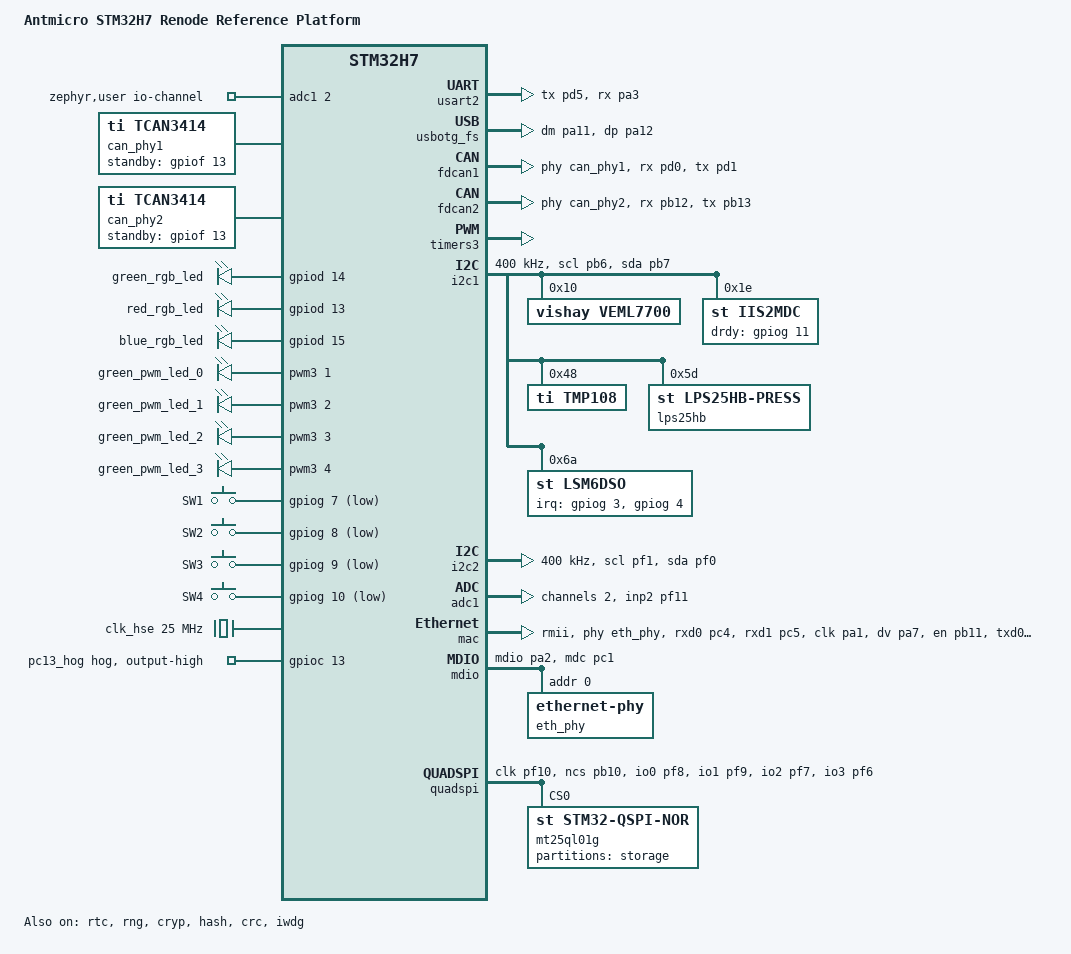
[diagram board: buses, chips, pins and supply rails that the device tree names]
/*
 * Copyright (c) 2026 Antmicro <www.antmicro.com>
 * SPDX-License-Identifier: Apache-2.0
 */

/dts-v1/;

#include <zephyr/dt-bindings/gpio/gpio.h>
#include <zephyr/dt-bindings/input/input-event-codes.h>
#include <zephyr/dt-bindings/memory-attr/memory-attr-arm.h>
#include <st/h7/stm32h753Xi.dtsi>
#include "stm32h7_renode_reference_board-pinctrl.dtsi"

/ {
	model = "Antmicro STM32H7 Renode Reference Platform";
	compatible = "antmicro,stm32h7_renode_reference_board";

	chosen {
		zephyr,crc = &crc;
		zephyr,entropy = &rng;
		zephyr,console = &usart2;
		zephyr,shell-uart = &usart2;
		zephyr,canbus = &fdcan1;
		zephyr,dtcm = &dtcm;
		zephyr,itcm = &itcm;
		zephyr,sram = &sram0;
		zephyr,flash = &flash0;
		zephyr,code-partition = &slot0_partition;
	};

	aliases {
		accel0 = &lsm6dso;
		ambient-temp0 = &tmp108;
		magn0 = &iis2mdc;
		light-sensor = &veml7700;
		pressure-sensor = &lps25hb;
		led0 = &green_rgb_led;
		led1 = &red_rgb_led;
		led2 = &blue_rgb_led;
		pwm-led0 = &green_pwm_led_0;
		pwm-led1 = &green_pwm_led_1;
		pwm-led2 = &green_pwm_led_2;
		pwm-led3 = &green_pwm_led_3;
		rtc = &rtc;
		spi-flash0 = &mt25ql01g;
		sw0 = &btn0;
		sw1 = &btn1;
		sw2 = &btn2;
		sw3 = &btn3;
		i2c-0 = &i2c1;
		watchdog0 = &iwdg;

		/* mcuboot uses those to enter recovery mode */
		mcuboot-button0 = &btn0;
		mcuboot-led0 = &red_rgb_led;
	};

	zephyr,user {
		io-channels = <&adc1 2>;
	};

	can_phy1: can-phy1 {
		compatible = "ti,tcan3414", "can-transceiver-gpio";
		standby-gpios = <&gpiof 13 GPIO_ACTIVE_HIGH>;
		#phy-cells = <0>;
		max-bitrate = <8000000>;
	};

	can_phy2: can-phy2 {
		compatible = "ti,tcan3414", "can-transceiver-gpio";
		standby-gpios = <&gpiof 13 GPIO_ACTIVE_HIGH>;
		#phy-cells = <0>;
		max-bitrate = <8000000>;
	};

	leds {
		compatible = "gpio-leds";

		green_rgb_led: led_rgb_g {
			gpios = <&gpiod 14 GPIO_ACTIVE_HIGH>;
		};

		red_rgb_led: led_rgb_r {
			gpios = <&gpiod 13 GPIO_ACTIVE_HIGH>;
		};

		blue_rgb_led: led_rgb_b {
			gpios = <&gpiod 15 GPIO_ACTIVE_HIGH>;
		};
	};

	pwmleds {
		compatible = "pwm-leds";

		green_pwm_led_0: led_0 {
			pwms = <&pwm3 1 PWM_MSEC(20) PWM_POLARITY_NORMAL>;
		};

		green_pwm_led_1: led_1 {
			pwms = <&pwm3 2 PWM_MSEC(20) PWM_POLARITY_NORMAL>;
		};

		green_pwm_led_2: led_2 {
			pwms = <&pwm3 3 PWM_MSEC(20) PWM_POLARITY_NORMAL>;
		};

		green_pwm_led_3: led_3 {
			pwms = <&pwm3 4 PWM_MSEC(20) PWM_POLARITY_NORMAL>;
		};
	};

	gpio_keys {
		compatible = "gpio-keys";

		/* Buttons labeled 1-4 on board */
		btn0: btn_0 {
			gpios = <&gpiog 7 (GPIO_ACTIVE_LOW | GPIO_PULL_UP)>;
			label = "SW1";
			zephyr,code = <INPUT_KEY_1>;
		};

		btn1: btn_1 {
			gpios = <&gpiog 8 (GPIO_ACTIVE_LOW | GPIO_PULL_UP)>;
			label = "SW2";
			zephyr,code = <INPUT_KEY_2>;
		};

		btn2: btn_2 {
			gpios = <&gpiog 9 (GPIO_ACTIVE_LOW | GPIO_PULL_UP)>;
			label = "SW3";
			zephyr,code = <INPUT_KEY_3>;
		};

		btn3: btn_3 {
			gpios = <&gpiog 10 (GPIO_ACTIVE_LOW | GPIO_PULL_UP)>;
			label = "SW4";
			zephyr,code = <INPUT_KEY_4>;
		};
	};
};

&pwr {
	power-supply = "ldo";
};

&clk_lsi {
	status = "okay";
};

&clk_hsi48 {
	status = "okay";
};

&clk_hse {
	hse-bypass;
	clock-frequency = <DT_FREQ_M(25)>;
	status = "okay";
};

&pll {
	div-m = <5>;
	mul-n = <192>;
	div-p = <2>;
	div-q = <2>;
	div-r = <2>;
	clocks = <&clk_hse>;
	status = "okay";
};

&pll2 {
	div-m = <5>;
	mul-n = <48>;
	div-p = <2>;
	div-q = <3>; /* 80MHz used in the FDCAN -> HSE / DIV-M * MUL-N / DIV-Q */
	div-r = <2>;
	clocks = <&clk_hse>;
	status = "okay";
};

&rcc {
	clocks = <&pll>;
	clock-frequency = <DT_FREQ_M(480)>;
	d1cpre = <1>;
	hpre = <2>;
	d1ppre = <2>;
	d2ppre1 = <2>;
	d2ppre2 = <2>;
	d3ppre = <2>;
};

&ext_memory {
	reg = <0x90000000 DT_SIZE_M(128)>; /* 1Gb = 128MB */
	zephyr,memory-attr = <DT_MEM_ARM_MPU_FLASH>;
};

&gpioc {
	status = "okay";

	pc13_hog {
		gpio-hog;
		gpios = <13 GPIO_ACTIVE_HIGH>;
		output-high;
	};
};

&gpiof {
	status = "okay";
};

&gpiog {
	status = "okay";
};

&usart2 {
	status = "okay";
	pinctrl-0 = <&usart2_tx_pd5 &usart2_rx_pa3>;
	pinctrl-names = "default";
};

zephyr_udc0: &usbotg_fs {
	pinctrl-0 = <&usb_otg_fs_dm_pa11 &usb_otg_fs_dp_pa12>;
	pinctrl-names = "default";
	status = "okay";
};

&fdcan1 {
	pinctrl-0 = <&fdcan1_rx_pd0 &fdcan1_tx_pd1>;
	pinctrl-names = "default";

	status = "okay";
	phys = <&can_phy1>;
};

&fdcan2 {
	clocks = <&rcc STM32_CLOCK(APB1_2, 8)>,
		 <&rcc STM32_SRC_PLL2_Q FDCAN_SEL(2)>;
	pinctrl-0 = <&fdcan2_rx_pb12 &fdcan2_tx_pb13>;
	pinctrl-names = "default";

	status = "okay";
	phys = <&can_phy2>;
};

&timers3 {
	st,prescaler = <10000>;
	status = "okay";

	pwm3: pwm {
		status = "okay";
		pinctrl-0 = <&tim3_ch1_pb4 &tim3_ch2_pc7 &tim3_ch3_pc8 &tim3_ch4_pb1>;
		pinctrl-names = "default";
	};
};

&i2c1 {
	status = "okay";
	pinctrl-0 = <&i2c1_scl_pb6 &i2c1_sda_pb7>;
	pinctrl-names = "default";
	clock-frequency = <I2C_BITRATE_FAST>;

	veml7700: veml7700@10 {
		compatible = "vishay,veml7700";
		reg = <0x10>;
		status = "okay";
	};

	iis2mdc: iis2mdc@1e {
		compatible = "st,iis2mdc";
		reg = <0x1e>;
		drdy-gpios = <&gpiog 11 GPIO_ACTIVE_HIGH>;
		status = "okay";
	};

	tmp108: tmp108@48 {
		compatible = "ti,tmp108";
		reg = <0x48>;
		status = "okay";
	};

	lps25hb: lps25hb@5d {
		compatible = "st,lps25hb-press";
		reg = <0x5d>;
		status = "okay";
	};

	lsm6dso: lsm6dso@6a {
		compatible = "st,lsm6dso";
		reg = <0x6a>;
		irq-gpios = <&gpiog 3 GPIO_ACTIVE_HIGH>,
			    <&gpiog 4 GPIO_ACTIVE_HIGH>;
		accel-odr = <1>;
		gyro-odr = <1>;
		status = "okay";
	};
};

&i2c2 {
	status = "okay";
	pinctrl-0 = <&i2c2_scl_pf1 &i2c2_sda_pf0>;
	pinctrl-names = "default";
	clock-frequency = <I2C_BITRATE_FAST>;
};

&adc1 {
	status = "okay";
	#address-cells = <1>;
	#size-cells = <0>;
	pinctrl-0 = <&adc1_inp2_pf11>;
	pinctrl-names = "default";
	st,adc-clock-source = "SYNC";
	st,adc-prescaler = <4>;

	pot1: channel@2 {
		reg = <2>;
		zephyr,gain = "ADC_GAIN_1";
		zephyr,reference = "ADC_REF_INTERNAL";
		zephyr,acquisition-time = <ADC_ACQ_TIME_MAX>;
		zephyr,resolution = <12>;
	};
};

&mac {
	status = "okay";
	pinctrl-0 = <&eth_rxd0_pc4
		     &eth_rxd1_pc5
		     &eth_ref_clk_pa1
		     &eth_crs_dv_pa7
		     &eth_tx_en_pb11
		     &eth_txd0_pg13
		     &eth_txd1_pg12>;
	pinctrl-names = "default";
	phy-connection-type = "rmii";
	phy-handle = <&eth_phy>;
};

&mdio {
	status = "okay";
	pinctrl-0 = <&eth_mdio_pa2 &eth_mdc_pc1>;
	pinctrl-names = "default";

	eth_phy: ethernet-phy@0 {
		compatible = "ethernet-phy";
		reg = <0x00>;
	};
};

&quadspi {
	pinctrl-0 = <&quadspi_clk_pf10 &quadspi_ncs_pb10
		     &quadspi_bk1_io0_pf8 &quadspi_bk1_io1_pf9
		     &quadspi_bk1_io2_pf7 &quadspi_bk1_io3_pf6>;
	pinctrl-names = "default";
	flash-id = <1>;
	status = "okay";

	mt25ql01g: qspi-nor-flash@0 {
		compatible = "st,stm32-qspi-nor";
		reg = <0>;
		size = <DT_SIZE_M(1024)>; /* 1Gb = 128MB */
		qspi-max-frequency = <DT_FREQ_M(72)>;
		cs-high-time = <4>; /* >= 50 ns */
		spi-bus-width = <4>;
		reset-cmd;

		partitions {
			compatible = "fixed-partitions";
			#address-cells = <1>;
			#size-cells = <1>;

			storage_partition: partition@0 {
				label = "storage";
				reg = <0x0 DT_SIZE_M(64)>;
			};
		};
	};
};

&flash0 {
	partitions {
		ranges;
		#address-cells = <1>;
		#size-cells = <1>;

		/* 128KB for bootloader */
		boot_partition: partition@0 {
			compatible = "zephyr,mapped-partition";
			label = "mcuboot";
			reg = <0x00000000 DT_SIZE_K(128)>;
			read-only;
		};

		/* application image slot: 384KB */
		slot0_partition: partition@20000 {
			compatible = "zephyr,mapped-partition";
			label = "image-0";
			reg = <0x00020000 DT_SIZE_K(384)>;
		};

		/* backup slot: 512KB */
		slot1_partition: partition@80000 {
			compatible = "zephyr,mapped-partition";
			label = "image-1";
			reg = <0x00080000 DT_SIZE_K(512)>;
		};
	};
};

&rtc {
	clocks = <&rcc STM32_CLOCK(APB4, 16)>,
		 <&rcc STM32_SRC_LSI RTC_SEL(2)>;
	status = "okay";
};

&rng {
	status = "okay";
};

&cryp {
	status = "okay";
};

&hash {
	status = "okay";
};

&crc {
	status = "okay";
};

&iwdg {
	status = "okay";
};
